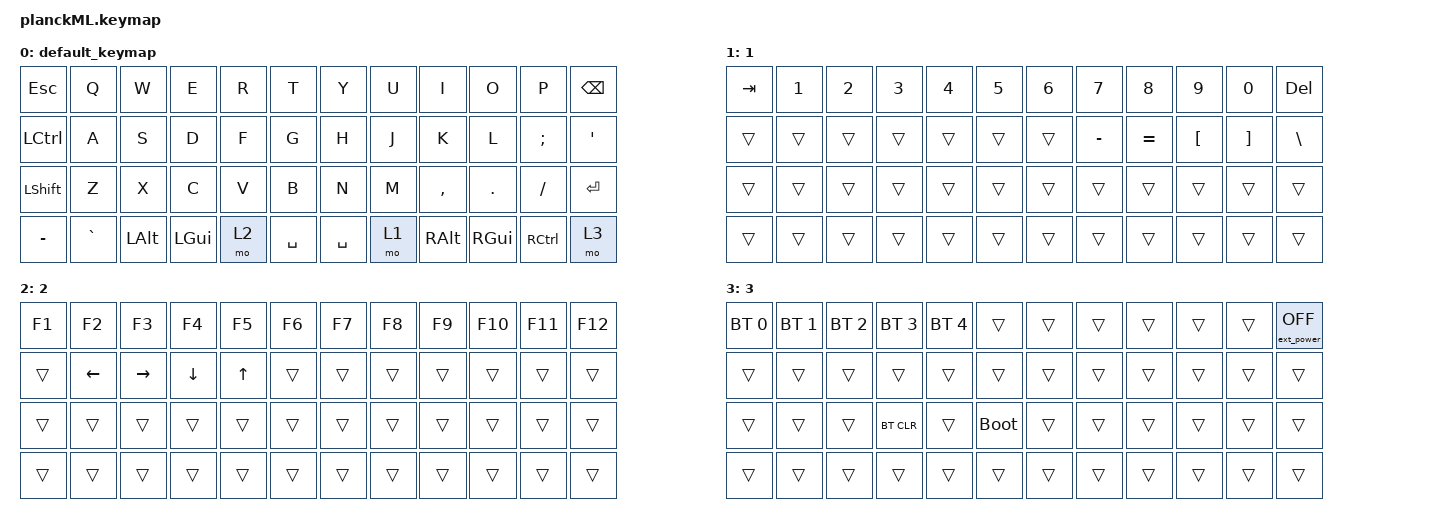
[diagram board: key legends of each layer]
#include <behaviors.dtsi>
#include <dt-bindings/zmk/keys.h>
#include <dt-bindings/zmk/bt.h>
#include <dt-bindings/zmk/ext_power.h>

/ {
    macros {
        cat_luv: cat_luv {
            label = "DISCORD_cat_luv";
            compatible = "zmk,behavior-macro";
            #binding-cells = <0>;
            wait-ms = <5>;
            bindings
                = <&macro_tap &kp COLON &kp C &kp A &kp T &kp UNDER &kp L &kp U &kp V &kp COLON>
                ;
        };
        mac_scrn: mac_scrn {
            label = "MAC_mac_scrn";
            compatible = "zmk,behavior-macro";
            #binding-cells = <0>;
            wait-ms = <5>;
            bindings
                = <&macro_press &kp LSHFT &kp LGUI>
                , <&macro_tap &kp N4>
                , <&macro_release &kp LSHFT &kp LGUI>
                ;
        };

    };

    keymap {
        compatible = "zmk,keymap";

        default_keymap {
            bindings = <
                        &kp ESC     &kp Q       &kp W       &kp E       &kp R       &kp T       &kp Y       &kp U       &kp I       &kp O       &kp P       &kp BSPC
                        &kp LCTRL   &kp A       &kp S       &kp D       &kp F       &kp G       &kp H       &kp J       &kp K       &kp L       &kp SEMI    &kp APOS
                        &kp LSHFT   &kp Z       &kp X       &kp C       &kp V       &kp B       &kp N       &kp M       &kp COMMA   &kp DOT     &kp FSLH    &kp ENTER
                        &kp MINUS   &kp GRAVE   &kp LALT    &kp LGUI    &mo 2       &kp SPACE   &kp SPACE   &mo 1       &kp RALT    &kp RGUI    &kp RCTRL   &mo 3
            >;
        };
        1 {
            bindings = <
                        &kp TAB     &kp N1      &kp N2      &kp N3      &kp N4      &kp N5      &kp N6      &kp N7		&kp N8      &kp N9      &kp N0      &kp DEL
                        &trans      &trans      &trans      &trans      &trans      &trans      &trans      &kp MINUS   &kp EQUAL   &kp LBKT    &kp RBKT    &kp BSLH
                        &trans      &trans      &trans      &trans      &trans      &trans      &trans      &trans      &trans      &trans      &trans      &trans
                        &trans      &trans      &trans      &trans      &trans      &trans      &trans      &trans      &trans      &trans      &trans      &trans            
            >;
        };
		2 {
            bindings = <
                        &kp F1      &kp F2      &kp F3      &kp F4      &kp F5      &kp F6      &kp F7      &kp F8      &kp F9      &kp F10     &kp F11     &kp F12
                        &trans      &kp LEFT    &kp RIGHT   &kp DOWN    &kp UP      &trans      &trans      &trans      &trans      &trans      &trans      &trans
                        &trans      &trans      &trans      &trans      &trans      &trans      &trans      &trans      &trans      &trans      &trans      &trans
                        &trans      &trans      &trans      &trans      &trans      &trans      &trans      &trans      &trans      &trans      &trans      &trans             
            >;
        };
		3 {
            bindings = <
                        &bt BT_SEL 0 &bt BT_SEL 1 &bt BT_SEL 2 &bt BT_SEL 3 &bt BT_SEL 4 &trans &trans      &trans      &trans      &trans      &trans      &ext_power EP_OFF
                        &trans      &trans      &trans      &trans      &trans      &trans      &trans      &trans      &trans      &trans      &trans      &trans
                        &trans      &trans      &trans      &bt BT_CLR  &trans      &bootloader &trans      &trans      &trans      &trans      &trans      &trans
                        &trans      &trans      &trans      &trans      &trans      &trans      &trans      &trans      &trans      &trans      &trans      &trans              
            >;
        };
    };
};
